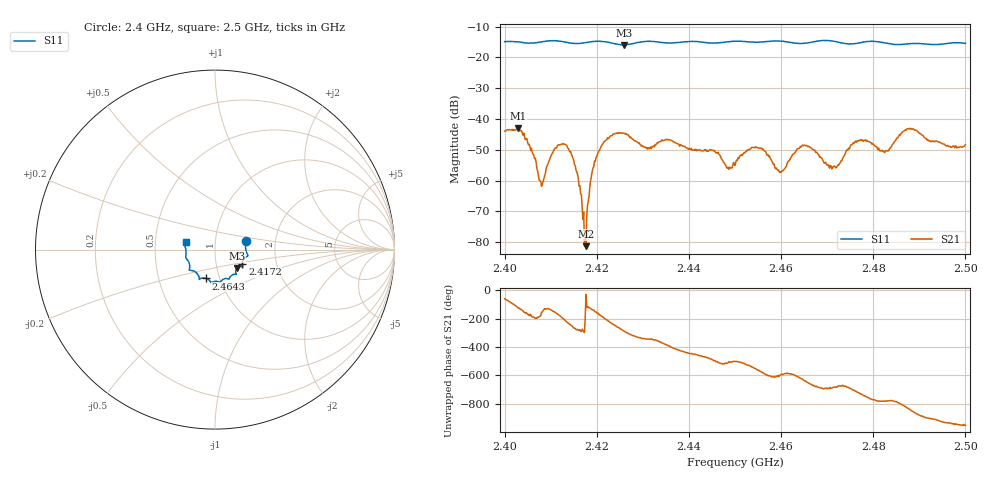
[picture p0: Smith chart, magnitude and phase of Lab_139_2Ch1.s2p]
# Hz S RI R 50
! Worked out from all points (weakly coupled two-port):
!   601 points, 2.4 GHz to 2.5 GHz, reference 50 ohm
!   highest |S21| = -42.93 dB at 2.4028 GHz (marker M1); lowest = -81.3 dB at 2.4177 GHz (marker M2)
!   lowest |S11| = -15.9 dB at 2.4258 GHz (marker M3), VSWR 1.38, Z = 62.3 - j13.3 ohm
!   |S11| at or under -10 dB: start of sweep to end of sweep
!   S12 and S22 are empty: the file has one direction only
!   S11 on the Smith chart (normalised r, x): 2.4 GHz: 1.41, +0.14; 2.4172 GHz: 1.34, -0.22; 2.4643 GHz: 0.86, -0.28; 2.5 GHz: 0.72, +0.06
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2.4e9  0.1733 0.0496  0.00322 -0.00546  0 0  0 0
2.402833e9  0.1755 0.0354  -0.00373 -0.00609  0 0  0 0
2.408e9  0.1777 -0.0206  -0.00075 -0.000305  0 0  0 0
2.410667e9  0.1836 -0.0341  -0.00269 -0.00161  0 0  0 0
2.413333e9  0.1711 -0.0423  -0.00297 0.00233  0 0  0 0
2.416667e9  0.1529 -0.0742  0.000207 0.000546  0 0  0 0
2.417167e9  0.1523 -0.08  0.000112 0.000286  0 0  0 0
2.417667e9  0.1524 -0.085  7.52e-05 -4.23e-05  0 0  0 0
2.419e9  0.1536 -0.0948  -0.00102 -0.000948  0 0  0 0
2.420333e9  0.1547 -0.0976  -0.00273 -0.000921  0 0  0 0
2.425833e9  0.1218 -0.1036  0.00157 0.0057  0 0  0 0
2.433333e9  0.113 -0.1369  0.00411 0.000124  0 0  0 0
2.45e9  0.0294 -0.1809  -0.00137 -0.00111  0 0  0 0
2.455e9  0.00189 -0.1768  -0.00316 0.00133  0 0  0 0
2.460167e9  -0.024 -0.1818  -0.000917 0.0011  0 0  0 0
2.464333e9  -0.0499 -0.1607  -0.000507 0.00346  0 0  0 0
2.466667e9  -0.0759 -0.1596  0.00196 0.00265  0 0  0 0
2.4715e9  -0.0875 -0.1603  0.00138 0.00103  0 0  0 0
2.476667e9  -0.1233 -0.1174  0.00437 4.64e-05  0 0  0 0
2.483333e9  -0.1408 -0.0897  0.00158 -0.00262  0 0  0 0
2.487833e9  -0.1588 -0.0516  -0.00326 -0.00624  0 0  0 0
2.5e9  -0.1637 0.0423  -0.00232 0.00305  0 0  0 0
